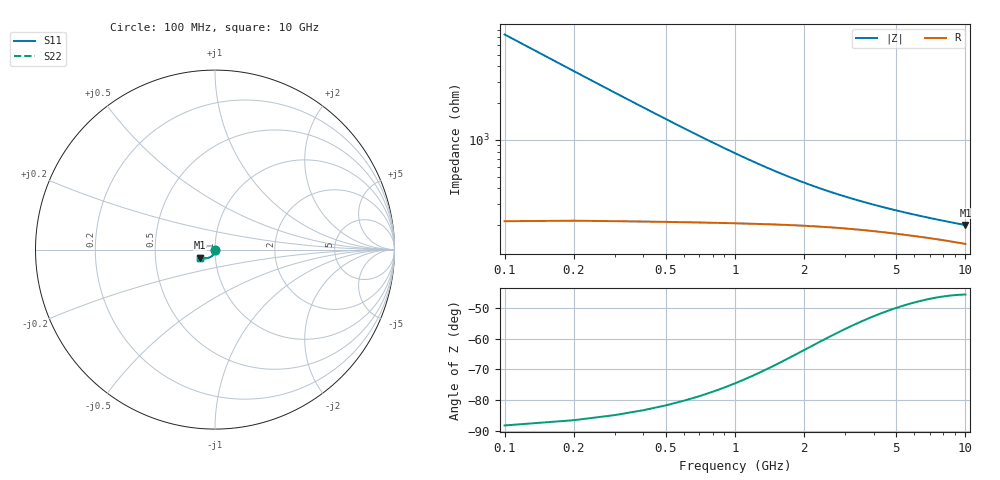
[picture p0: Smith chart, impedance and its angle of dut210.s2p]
! Touchstone file exported from HFSS 2024.1.0
!  File:  C:/UserFiles/LocalFiles/RDL_TSV_Batchsim/temp_TSV1_210_1778757842.aedt
!  Generated:  07:27:57 PM May 14, 2026
!  Design:  TSV1
!  Project:  temp_TSV1_210_1778757842
!  Setup:  Setup1
!  Solution:  Sweep
! Variables:
!  dtsv = 19.46um
!  hbump = 3um
!  htsv = 92.91um
!  lrdl = 252.1521522um
!  p = 40
!  p1 = 54.58um
!  t = 500um
!  trdl = 3um
!  wrdl = 24.89489489um
# GHz S MA R 50.000000
! Terminal data exported
! Port[1] = TSV22_T1
! Port[2] = TSV22_T2
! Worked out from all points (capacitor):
!   100 points, 100 MHz to 10 GHz, reference 50 ohm
!   read as one part in shunt: C = 218 fF near 100 MHz
!   lowest |Z| = 200 ohm at 10 GHz (marker M1)
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0.1  0.003052 -90.6  0.9998 -0.2  0.9998 -0.2  0.003052 -90.6
! Gamma 0 0 0 0
! Port Impedance 50 0 50 0
0.2  0.006121 -93.3  0.9995 -0.4  0.9995 -0.4  0.006121 -93.3
0.3  0.009158 -95.5  0.9989 -0.6  0.9989 -0.6  0.009158 -95.5
0.4  0.01215 -97.5  0.9982 -0.9  0.9982 -0.9  0.01215 -97.5
0.5  0.01509 -99.5  0.9973 -1.1  0.9973 -1.1  0.01509 -99.5
0.6  0.01797 -101.4  0.9962 -1.2  0.9962 -1.2  0.01797 -101.4
0.7  0.02077 -103.3  0.995 -1.4  0.995 -1.4  0.02077 -103.3
0.8  0.0235 -105.1  0.9937 -1.6  0.9937 -1.6  0.0235 -105.1
0.9  0.02614 -106.8  0.9923 -1.8  0.9923 -1.8  0.02614 -106.8
1.1  0.03114 -110.2  0.9893 -2.1  0.9893 -2.1  0.03114 -110.2
1.4  0.03793 -114.7  0.9843 -2.5  0.9843 -2.5  0.03793 -114.7
1.6  0.042 -117.5  0.981 -2.8  0.981 -2.8  0.042 -117.5
1.8  0.04571 -120.0  0.9776 -3.0  0.9776 -3.0  0.04571 -120.0
2.1  0.05069 -123.4  0.9727 -3.3  0.9727 -3.3  0.05069 -123.4
2.5  0.05638 -127.3  0.9667 -3.6  0.9667 -3.6  0.05638 -127.3
2.9  0.06119 -130.5  0.9612 -3.9  0.9612 -3.9  0.06119 -130.5
3.4  0.06626 -133.9  0.9552 -4.1  0.9552 -4.1  0.06626 -133.9
4.2  0.07281 -138.2  0.9471 -4.5  0.9471 -4.5  0.07281 -138.2
5.1  0.07859 -141.8  0.9398 -4.9  0.9398 -4.9  0.07859 -141.8
6.7  0.08621 -146.5  0.9299 -5.5  0.9299 -5.5  0.08621 -146.5
8.4  0.09193 -150.1  0.9224 -6.1  0.9224 -6.1  0.09193 -150.1
10  0.09593 -152.5  0.9172 -6.6  0.9172 -6.6  0.09593 -152.5
